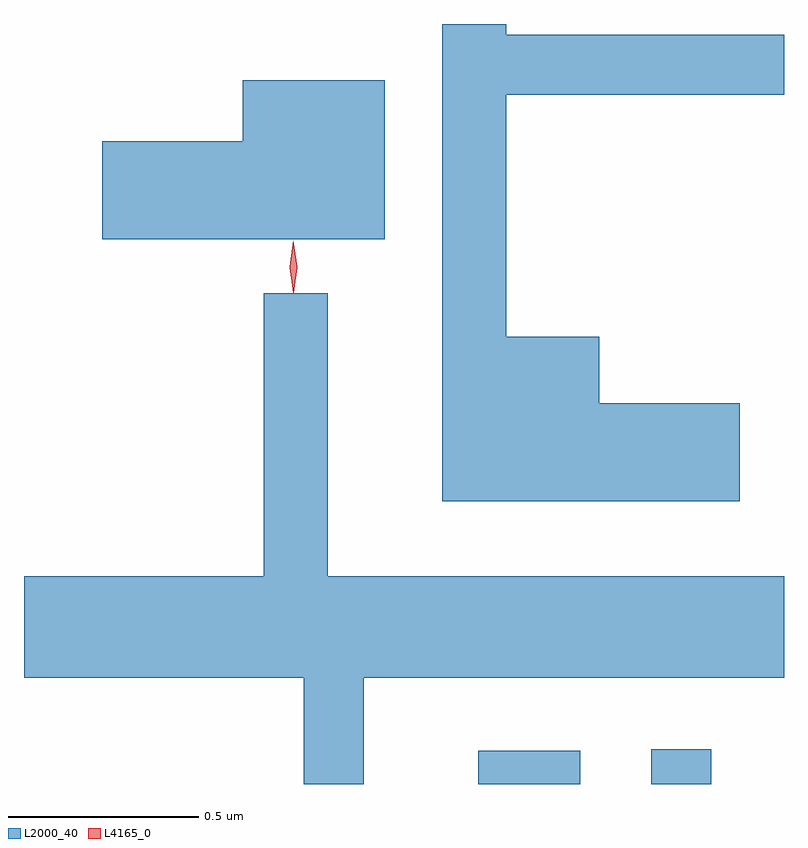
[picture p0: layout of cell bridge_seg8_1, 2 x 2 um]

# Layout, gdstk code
import gdstk
lib = gdstk.Library(unit=1e-6, precision=1e-09)
def R(c, l, rs):  # rectangles x0, y0, x1, y1
    for r in rs: c.add(gdstk.rectangle(r[:2], r[2:], *l))
def P(c, l, *ps):  # polygons
    for p in ps: c.add(gdstk.Polygon(p, *l))
L2000_40 = (2000, 40)
L4165_0 = (4165, 0)

bridge_seg8_1 = lib.new_cell('bridge_seg8_1')
R(bridge_seg8_1, L2000_40, [(1659.286,1909.397,1659.554,1909.484), (1659.741,1909.397,1659.899,1909.488)])
P(bridge_seg8_1, L2000_40, [(1659.974,1910.399),(1659.604,1910.399),(1659.604,1910.574),(1659.359,1910.574),(1659.359,1911.211),(1660.09,1911.211),(1660.09,1911.369),(1659.359,1911.369),(1659.359,1911.397),(1659.191,1911.397),(1659.191,1910.141),(1659.974,1910.141)],
  [(1659.039,1911.249),(1658.666,1911.249),(1658.666,1911.089),(1658.296,1911.089),(1658.296,1910.831),(1659.039,1910.831)],
  [(1658.984,1909.676),(1660.09,1909.676),(1660.09,1909.944),(1658.889,1909.944),(1658.889,1910.688),(1658.721,1910.688),(1658.721,1909.944),(1658.09,1909.944),(1658.09,1909.676),(1658.826,1909.676),(1658.826,1909.397),(1658.984,1909.397)])
P(bridge_seg8_1, L4165_0, [(1658.799,1910.69),(1658.789,1910.758),(1658.798,1910.826),(1658.798,1910.826),(1658.799,1910.826),(1658.809,1910.758),(1658.8,1910.69),(1658.8,1910.69)],
  [(1658.799,1910.693),(1658.789,1910.756),(1658.798,1910.819),(1658.798,1910.82),(1658.799,1910.819),(1658.809,1910.756),(1658.8,1910.693),(1658.8,1910.693)])

lib.write_gds('bridge_seg8_1.gds')
